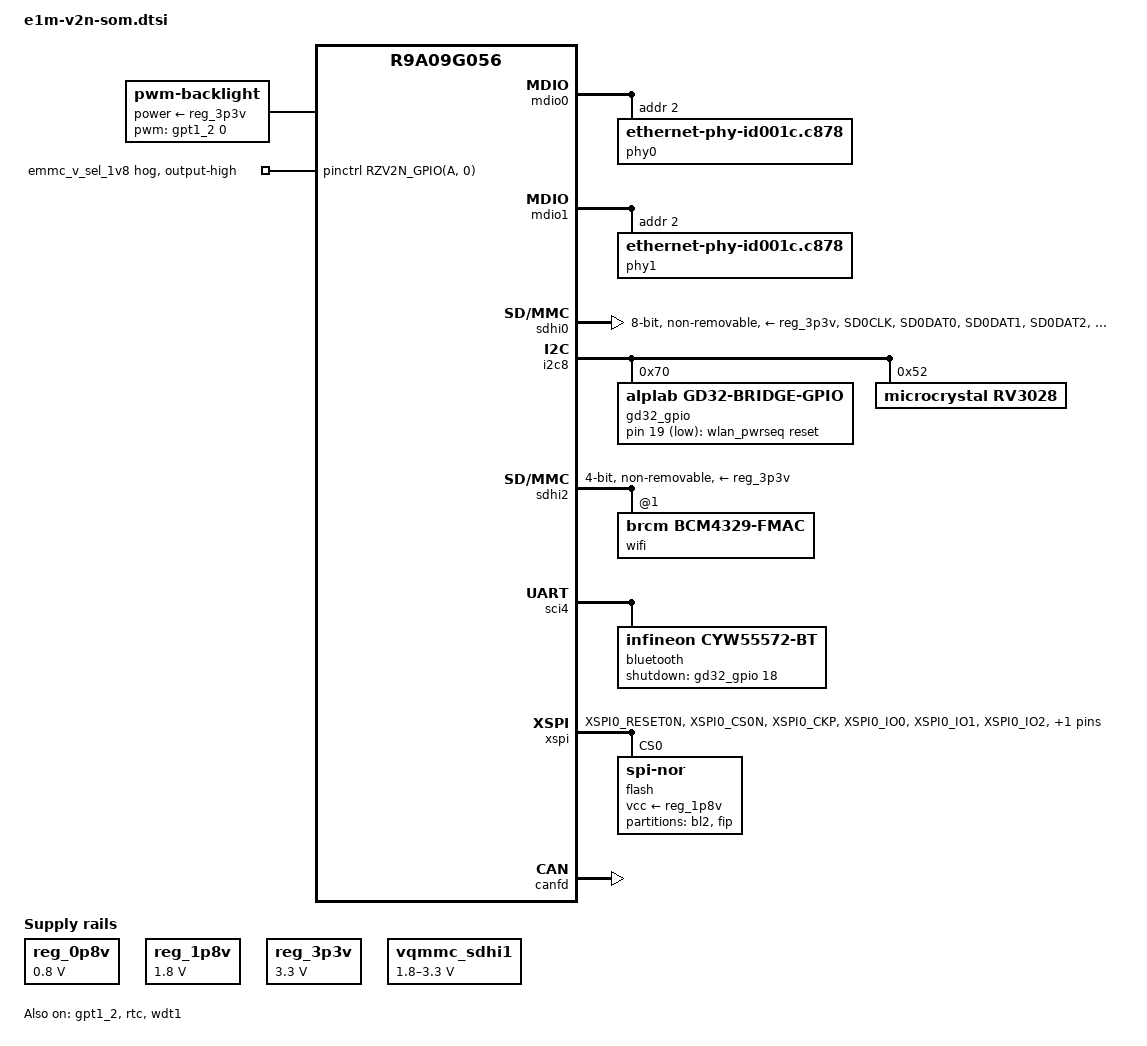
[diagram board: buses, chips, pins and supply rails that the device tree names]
// SPDX-License-Identifier: (GPL-2.0-only OR BSD-2-Clause)
/*
 * ALP E1M-V2N SoM (on-module) — Renesas RZ/V2N (r9a09g056n48).
 *
 * Public, per SoM-vendor norm (Toradex/Phytec/Variscite publish their SoM
 * dtsi; the dtb ships on every module and is GPL). Schematic design IP
 * (resistor IDs, divider math, datasheet notes) stays in alp-sdk-internal
 * metadata, NOT here.
 *
 * On-module hardware described here: DRP-AI/codec reserved memory, the
 * core fixed rails, the dual Realtek RTL8211F-VD GbE PHYs, on-module eMMC
 * (SDHI0), and the on-module xSPI NOR. Carrier-facing enables live in the
 * carrier dtsi (e1m-x-evk.dtsi); each product board dts composes
 * SoC dtsi + this SoM dtsi + a carrier dtsi.
 *
 * Ported from the Renesas RZ/V2N EVK reference dts (kernel SHA 6717c06,
 * AI SDK platform 7.1 / BSP v6.30).
 *
 * STATUS: UNVALIDATED through dtc/bitbake — first structured port.
 */

#include <dt-bindings/gpio/gpio.h>
#include "r9a09g056.dtsi"

/ {
	reserved-memory {
		#address-cells = <2>;
		#size-cells = <2>;
		ranges;

		/* A55 view of the CM33 OpenAMP window: the CM33 board trees'
		 * openamp_shm (memory@9f700000, 0x900000, CM33-NS view; A55 =
		 * CM33-NS - 0x50000000, see src/backends/rpc/yocto_uio_drv.c).
		 * no-map so Linux never hands this RAM out: a CM33 image with
		 * IPC enabled writes the resource table + vrings here whether or
		 * not the A55 peer is up (#2374).  The generic-uio nodes the A55
		 * RPC backend opens are declared at the end of this file. */
		openamp_reserved: openamp@4f700000 {
			no-map;
			reg = <0x0 0x4f700000 0x0 0x900000>;
		};

		global_cma: linux,cma@58000000 {
			compatible = "shared-dma-pool";
			linux,cma-default;
			reusable;
			reg = <0x0 0x58000000 0x0 0x28000000>;
		};

		mmp_reserved: linux,multimedia {
			compatible = "shared-dma-pool";
			reusable;
			reg = <0x0 0x80000000 0x0 0x10000000>;
		};

		isp: isp@90000000 {
			compatible = "shared-dma-pool";
			reusable;
			reg = <0x0 0x90000000 0x0 0x18000000>;
		};

		opencva_reserved: opencva@a8000000 {
			reusable;
			reg = <0x0 0xa8000000 0x0 0x7cff000>;
		};

		shared_drp_reserved: shareddrp@afcff000 {
			reusable;
			reg = <0x0 0xafcff000 0x0 0x00001000>;
		};

		drp_codec: drp-codec@afd00000 {
			reusable;
			reg = <0x0 0xafd00000 0x0 0x300000>;
		};

		image_buf0: image_buf@b0000000 {
			compatible = "shared-dma-pool";
			reusable;
			reg = <0x0 0xb0000000 0x0 0x4000000>;
			label = "image_buf0";
		};

		cru_func: cru_buffer@b4000000 {
			compatible = "shared-dma-pool";
			reusable;
			reg = <0x0 0xb4000000 0x0 0x16400000>;
		};

		/* DRP-AI3 working memory (on-die NPU). */
		drp_reserved: drp-ai@d0000000 {
			reusable;
			reg = <0x0 0xd0000000 0x0 0x20000000>;
		};
	};

	/*
	 * A55 half of the CM33 OpenAMP link (#2374): generic-uio nodes the
	 * userspace OpenAMP master (src/backends/rpc/yocto_uio_drv.c) opens
	 * through libmetal.  The node NAME is load-bearing: sysfs exposes the
	 * platform device as "<unit-address>.<node-name>" (e.g.
	 * 4f700000.rsctbl) and the backend looks each region up by exactly
	 * that string.  Layout = the CM33 board trees' openamp_shm window
	 * (A55 = CM33-NS - 0x50000000) inside openamp_reserved above.
	 * uio_pdrv_genirq binds "generic-uio" (uio.cfg + the 0012 patch).
	 */
	rsctbl@4f700000 {
		compatible = "generic-uio";
		reg = <0x0 0x4f700000 0x0 0x1000>;
	};

	mhu-shm@4f701000 {
		compatible = "generic-uio";
		reg = <0x0 0x4f701000 0x0 0x1000>;
	};

	vring-ctl0@4f800000 {
		compatible = "generic-uio";
		reg = <0x0 0x4f800000 0x0 0x50000>;
	};

	vring-ctl1@4f850000 {
		compatible = "generic-uio";
		reg = <0x0 0x4f850000 0x0 0x50000>;
	};

	vring-shm0@4f900000 {
		compatible = "generic-uio";
		reg = <0x0 0x4f900000 0x0 0x300000>;
	};

	vring-shm1@4fc00000 {
		compatible = "generic-uio";
		reg = <0x0 0x4fc00000 0x0 0x300000>;
	};

	/*
	 * MHU-B register block (A55 0x10480000, CM33-view 0x50480000).  The
	 * M33->A55 doorbell is MHU-B SWINT unit 12, the only CA55-routed
	 * reverse line: INTID 436 = GIC_SPI 404 (GIC-measured on silicon,
	 * alp-sdk #697 cycle 10; see yocto_uio_drv.c ALP_MHU_SWINT_RECV_*).
	 * Level-high: the backend acks by writing SWINT unit 12 CLR.
	 * uio_pdrv_genirq disables the line at IRQ time and libmetal
	 * re-enables it after the backend's ack.
	 */
	mhu-uio@10480000 {
		compatible = "generic-uio";
		reg = <0x0 0x10480000 0x0 0x1000>;
		interrupt-parent = <&gic>;
		interrupts = <GIC_SPI 404 IRQ_TYPE_LEVEL_HIGH>;
	};

	mmngr {
		compatible = "renesas,mmngr";
		memory-region = <&mmp_reserved>;
	};

	mmngrbuf {
		compatible = "renesas,mmngrbuf";
	};

	vspm_if {
		compatible = "renesas,vspm_if";
	};

	reg_0p8v: regulator-0p8v {
		compatible = "regulator-fixed";
		regulator-name = "fixed-0.8V";
		regulator-min-microvolt = <800000>;
		regulator-max-microvolt = <800000>;
		regulator-boot-on;
		regulator-always-on;
	};

	reg_1p8v: regulator-1p8v {
		compatible = "regulator-fixed";
		regulator-name = "fixed-1.8V";
		regulator-min-microvolt = <1800000>;
		regulator-max-microvolt = <1800000>;
		regulator-boot-on;
		regulator-always-on;
	};

	reg_3p3v: regulator-3p3v {
		compatible = "regulator-fixed";
		regulator-name = "fixed-3.3V";
		regulator-min-microvolt = <3300000>;
		regulator-max-microvolt = <3300000>;
		regulator-boot-on;
		regulator-always-on;
	};

	/* SD1 (carrier microSD, SDHI1) IO-voltage selector. It sits on the
	 * SoM and feeds the SoC's SD1 VDDQ pad rail; &sdhi1 (e1m-x-evk.dtsi)
	 * uses it as vqmmc-supply. Driven by PA2 (µSD1_V_SEL): low = 3.3 V,
	 * high = 1.8 V; SEL has an internal pull-down, so it defaults to
	 * 3.3 V. Bench-verified at 1.8 V up to SDR104 (see &sdhi1). */
	vqmmc_sdhi1: regulator-vqmmc-sdhi1 {
		compatible = "regulator-gpio";
		regulator-name = "SDHI1 VqmmC";
		gpios = <&pinctrl RZV2N_GPIO(A, 2) GPIO_ACTIVE_HIGH>;
		regulator-min-microvolt = <1800000>;
		regulator-max-microvolt = <3300000>;
		gpios-states = <0>;
		states = <3300000 0>, <1800000 1>;
	};

	backlight: backlight {
		compatible = "pwm-backlight";
		pwms = <&gpt1_2 0 200000>;
		power-supply = <&reg_3p3v>;
		brightness-levels = <0 4 8 16 32 64 128 255>;
		default-brightness-level = <6>;
	};
};

/* Display backlight: the LED boost driver lives ON the SoM (BL_LED_A/K
 * to the module edge); Renesas PA5 = BL_PWM drives its CNTRL input.
 * PA5 func 9 = GTIOC10B. GPT naming trap, the full story:
 *   - GPT INSTANCES are unit-channel composite: GPT00-07 (unit 0,
 *     0x13010000) and GPT10-17 (unit 1, 0x13020000 + ch * 0x100).
 *     "GPT12" = unit 1 channel 2. There is no GPT08/09 instance.
 *   - PIN FUNCTIONS GTIOCnA/B are numbered FLAT n = 0..15 across both
 *     units (HW manual Table 1.2-3 has GTIOC8/9, never GTIOC16/17;
 *     Table 5.7-12 lists unit-1's own pins as GTIOC8A..GTIOC15B).
 *   - Therefore GTIOC10B = unit 1 channel 2 = gpt@13020200 = &gpt1_2,
 *     B-side output (hence channel_B). 5 kHz PWM.
 * The FSP iodefine name "R_GPT10" (= 0x.3020000) is the composite
 * INSTANCE name, not the pin-function index -- do not "fix" this back
 * to &gpt1_0. Silicon-verified 2026-06-06: GPT12 PWM observed at the
 * PA5 die pad via PIN-register sampling (IEN on, ~50% duty); unit-1
 * ch-0 (&gpt1_0) runs identical register images into the unmuxed
 * GTIOC8B function and leaves PA5 dead.
 */
&gpt1_2 {
	pinctrl-0 = <&backlight_pwm_pins>;
	pinctrl-names = "default";
	channel = "channel_B";
	status = "okay";
};

/*
 * CA55 cluster maximum operating point: 1.7 GHz (default) or 1.8 GHz (opt-in).
 *
 * The SoC dtsi (r9a09g056.dtsi) ships a cluster0_opp table that tops out at
 * 1.7 GHz -- the conservative Renesas default -- with an in-tree note that the
 * PLLCA55 "can be clocked to 1.8GHz as well" and that "the table below should
 * be overridden in the board DTS". The RZ/V2N datasheet (r01ds0466) rates the
 * CA55 at 1.8 GHz @ 0.9 V (1.1 GHz @ 0.8 V).
 *
 * 1.7 GHz and 1.8 GHz sit on the SAME 0.9 V rail (the voltage step is lower in
 * the table, at <= 0.85 GHz / 0.8 V), so raising the cap is a ~6 % clock bump
 * at unchanged voltage -- not a higher-voltage corner. The CPG clk driver
 * reprograms PLLCA55 dynamically (the boot-strapped BOOTPLLCA frequency is the
 * initial value, not a ceiling). 1.8 GHz IS the datasheet ceiling, though, so
 * per-unit Fmax margin is thinner there; we ship 1.7 GHz by default and leave
 * 1.8 GHz as a one-line opt-in.
 *
 * TO RAISE THE CAP TO 1.8 GHz: flip ALP_CA55_1P8GHZ to 1 below (or build the
 * kernel dtb with -DALP_CA55_1P8GHZ=1 -- no DT edit needed). Bench-validated
 * on E1M-V2M101 silicon (2026-06-12): a 5 min 4-core soak held 1.8 GHz on all
 * cores with zero sha256 miscompute, no thermal throttle (56 C peak vs the
 * 95 C passive trip), and a clean boot. Validate your own silicon + thermals
 * before enabling 1.8 GHz fleet-wide.
 */
#ifndef ALP_CA55_1P8GHZ
#define ALP_CA55_1P8GHZ 0	/* 0 = 1.7 GHz (default), 1 = 1.8 GHz */
#endif

#if ALP_CA55_1P8GHZ
&cluster0_opp {
	opp-1800000000 {
		opp-hz = /bits/ 64 <1800000000>;
		opp-microvolt = <900000>;
		clock-latency-ns = <300000>;
	};
};
#endif

/*
 * Dual on-module GbE PHYs. Each PHY is addressed at MDIO address 2 on its
 * bus (the on-module wiring makes address 2 the reliable address; address
 * 0 does not respond to phy_poll_reset). The compatible string carries the
 * PHY's IEEE OUI/model so the matching mainline driver binds.
 */
&mdio0 {
	phy0: ethernet-phy@2 {
		compatible = "ethernet-phy-id001c.c878",
			     "ethernet-phy-ieee802.3-c22";
		reg = <2>;
	};
};

&mdio1 {
	phy1: ethernet-phy@2 {
		compatible = "ethernet-phy-id001c.c878",
			     "ethernet-phy-ieee802.3-c22";
		reg = <2>;
	};
};

/*
 * On-die DRP-AI3 NPU enable (claims drp_reserved + shared_drp_reserved
 * above, and flips the node to "okay").
 *
 * Kept in its own file because it can only be compiled when the OPTIONAL
 * meta-rz-drpai layer is in bblayers.conf: that layer's
 * 0001-add-drpai-property-to-devicetree.patch is what CREATES the `drpai0`
 * label in r9a09g056.dtsi -- the pristine linux-renesas tree has no such
 * node, so an unconditional `&drpai0` here aborts dtc for every board that
 * includes this SoM dtsi (V2N and V2M alike).  The linux-renesas bbappend
 * installs the real override when the layer is present and a comment-only
 * stub when it is not; the rationale, the mandatory-second-property rule and
 * the mmp_reserved warning all live in that file.
 */
#include "e1m-v2n-drpai.dtsi"

/* On-module eMMC on SDHI0 (8-bit, HS200, non-removable). */
&sdhi0 {
	pinctrl-0 = <&sdhi0_emmc_pins>;
	pinctrl-1 = <&sdhi0_emmc_pins>;
	pinctrl-names = "default", "state_uhs";
	vmmc-supply = <&reg_3p3v>;
	vqmmc-supply = <&reg_1p8v>;
	bus-width = <8>;
	mmc-hs200-1_8v;
	non-removable;
	fixed-emmc-driver-type = <1>;
	status = "okay";
};

/* GD32G553 supervisor MCU bridge -- I2C slave transport on BRD_I2C.
 * Exposes the GD32-routed E1M IO pads plus sideband control lines
 * (logical bridge map, 21 lines) as a Linux gpiochip: line 5 =
 * IO13/LCD1_RST, line 3 = IO11/CTP1_RST, line 1 = IO9/CTP1_INT (input
 * only -- the GT911 drives it), line 18 = bt-reg-on (the `bluetooth`
 * node's shutdown-gpios below), line 19 = wl-reg-on (the
 * mmc-pwrseq-simple node's reset-gpios below), line 20 = can-stby
 * (sideband, not an E1M pad -- see the gpio-hog below; requires
 * bridge protocol MINOR >= 13, gated at the wire, not in .request();
 * see can-stby-hog below).
 * Same physical chip as the CM33's SCI7 SPI link peer; Linux only
 * issues short GPIO frames here.
 *
 * On-module real-time clock: Micro Crystal RV-3028-C7 at 0x52, also on
 * BRD_I2C -- the RTC of record for the whole SoM family (rtc0 alias
 * below). The SoC's own RTXIN has no discrete 32.768 kHz crystal; it is
 * instead fed by SE1 of the on-module 5L35023B clock generator, which
 * U-Boot corrects from its as-shipped 24.576 MHz to 32.768 kHz on every
 * boot before Linux starts (board_late_init() -> alp_clk5l_fixup(),
 * meta-alp-sdk u-boot 0007 patch) -- bench-confirmed 2026-09-24
 * (E1M-V2M103 board #1): with the fix applied, the SoC RTC (&rtc below)
 * starts and counts at 32.768 kHz. See &rtc's own comment below -- do
 * NOT re-disable it without also reverting that U-Boot fix.
 * No trickle-resistor-ohms is set: whether the RV-3028-C7's VBACKUP net
 * carries a backup cap/coin cell on this SoM is not confirmed on the
 * schematic -- add the property once that's known, don't guess it.
 *
 * CA55/Linux is the sole master of the WHOLE RIIC8/BRD_I2C bus -- every
 * device on it, not just this one (metadata/e1m_modules/v2n/
 * core-ownership.yaml). The CM33 must never issue I2C transactions here.
 *
 * FOLLOW-UP: rv3028c7.yaml's INT/v2n_route (RTC_ALARM) isn't wired to an
 * `interrupts` property below -- the SoC-side pin/mux isn't confirmed
 * yet. /dev/rtc0 alarm ioctls still work via poll/select without it; a
 * wake-capable alarm needs that pin nailed down first.
 */
&i2c8 {
	gd32_gpio: gpio@70 {
		compatible = "alplab,gd32-bridge-gpio";
		reg = <0x70>;
		gpio-controller;
		#gpio-cells = <2>;
		/* Names come from here, not gpio_chip.names: the driver's
		 * names[] made a re-bind oops in gpiolib's duplicate-name walk
		 * (alplabai/alp-sdk#2508). */
		gpio-line-names =
			"IO8",  "IO9",  "IO10", "IO11", "IO12", "IO13",
			"IO14", "IO16", "IO24", "IO25", "IO27", "IO28",
			"IO29", "IO30", "IO31", "IO32", "IO34", "IO35",
			"bt-reg-on", "wl-reg-on", "can-stby", "se-rst";

		/* CAN_STBY (bridge line 20, GD32 PB13,
		 * metadata/e1m_modules/v2n/gd32-io-mcu-map.csv:38): the
		 * shared standby line for the two on-module TCAN1044 CAN-FD
		 * transceivers (U15/U16). STB HIGH = standby, STB LOW =
		 * normal -- the bridge firmware boots the pad HIGH (bus held
		 * in standby) as its own safe default; this hog is Linux
		 * actively taking the bus out of standby at boot.
		 *
		 * Requires bridge protocol MINOR >= 13 (firmware >= 0.2.16).
		 * Unlike lines 18/19, this line is NOT gated in .request():
		 * the only consumer is this hog on the same gpiochip, and
		 * deferring a hog's request would fail the whole gpiochip
		 * registration (bt-reg-on, wl-reg-on, RTC, Display-1). The
		 * 0005 kernel patch instead grants the request immediately
		 * and gates at the wire level (gd32_bridge_gate_blocked()):
		 * on a bridge below MINOR 13 the line-20 write is never sent,
		 * so CAN_STBY stays HIGH and BOTH transceivers sit in
		 * standby indefinitely, with only a one-shot dev_warn.
		 * There is no deferred probe. When the bridge is merely slow
		 * to boot, the driver latches the level and replays it once
		 * the bridge answers. */
		can-stby-hog {
			gpio-hog;
			gpios = <20 GPIO_ACTIVE_HIGH>;
			output-low;
			line-name = "can-stby";
		};
	};

	rv3028: rtc@52 {
		compatible = "microcrystal,rv3028";
		reg = <0x52>;
	};
};

/ {
	aliases {
		/* BRD_I2C is a SoM-internal bus (RIIC8), not one of the E1M-X-EVK
		 * carrier's own routed pins -- its Linux adapter alias lives here,
		 * not in e1m-x-evk.dtsi's carrier-bus aliases block. */
		i2c8 = &i2c8;
		rtc0 = &rv3028;
		/* &rtc (SoC RTCA-3) below is enabled and probes before rtc0
		 * above -- Linux's rtc class allocates ids in probe order
		 * (drivers/rtc/class.c ida_alloc), and drivers/Makefile links
		 * rtc/ before i2c/, so without a fixed id here &rtc would grab
		 * /dev/rtc0 and rv3028 would land on /dev/rtc1, breaking
		 * RTC_HCTOSYS and every alias above that assumes rv3028 = rtc0.
		 * Pin &rtc to rtc1 explicitly so rv3028 keeps rtc0. */
		rtc1 = &rtc;
		/* RSCI4 carries the on-module Bluetooth UART (&sci4 below). The
		 * rz-rsci driver takes its tty index from this alias; without it
		 * the port registers as ttySC0 -- colliding with the SCIF debug
		 * console (serial0, e1m-x-evk.dtsi) -- and matches
		 * console=ttySC0, so the kernel console and the serial getty
		 * move onto the BT UART (bench, E1M-V2M103, 2026-09-26). */
		serial4 = &sci4;
	};

	/* On-module Wi-Fi power sequencing for the Murata LBEE5HY2FY-922
	 * (Infineon CYW55513): WL_REG_ON is GD32 bridge line 19 (PE15,
	 * boots OUTPUT LOW at bridge firmware >= 0.2.12 / protocol minor
	 * 11 -- see gpio-gd32-bridge.c). mmc-pwrseq-simple's reset-gpios
	 * is asserted (driven to its ACTIVE level) in .pre_power_on and
	 * deasserted in .post_power_on, so ACTIVE_LOW here reproduces the
	 * required sequence: REG_ON low through card power-up, then high.
	 * mmc_power_up() holds REG_ON low for host->ios.power_delay_ms
	 * between .pre_power_on and .post_power_on -- that MMC-core delay
	 * is the >=10 ms REG_ON-low hold the bring-up notes call for, not
	 * anything set here. post-power-on-delay-ms instead runs AFTER
	 * .post_power_on drives REG_ON high (pwrseq_simple.c:
	 * mmc_pwrseq_simple_post_power_on() deasserts, then sleeps this
	 * many ms) -- a settle time for the module post-power-up, before
	 * the first CMD5. Bench-tuned on E1M-V2M103 (2026-09-26): at 10 ms
	 * a WL_REG_ON power cycle (SDHI2 unbind/bind) re-enumerated only
	 * 11/15 times -- the failing rounds never answer CMD5 -- while cold
	 * boot always worked; at 200 ms it re-enumerated 15/15 (brcmfmac
	 * firmware reloaded each time). */
	wlan_pwrseq: wlan-pwrseq {
		compatible = "mmc-pwrseq-simple";
		reset-gpios = <&gd32_gpio 19 GPIO_ACTIVE_LOW>;
		post-power-on-delay-ms = <200>;
	};
};

/* SoC RTC (RTCA-3, RTXIN/RTXOUT). RTXIN has no discrete 32.768 kHz
 * crystal -- it is fed by SE1 of the on-module 5L35023B clock
 * generator, whose as-shipped OTP image outputs 24.576 MHz on SE1
 * instead of 32.768 kHz. U-Boot corrects this on every boot, before
 * Linux starts (board_late_init() -> alp_clk5l_fixup(),
 * meta-alp-sdk u-boot 0007 patch): a volatile register write that
 * takes effect immediately but REVERTS ON POWER-CYCLE (the OTP itself
 * cannot be re-burned in-system), so it must run every boot -- this DT
 * enablement depends on that fix having already run. rtc_clk below is
 * fixed at the corrected 32.768 kHz.
 *
 * Bench-confirmed 2026-09-24 (E1M-V2M103 board #1): before the fix,
 * probing &rtc timed out ("Failed to setup the RTC!", -ETIMEDOUT);
 * after it, the SoC RTC starts and counts at 32.768 kHz (~+/-100 ppm
 * vs an NTP-slewed reference). The on-module RV-3028-C7 above remains
 * the RTC of record (rtc0 alias) -- this is a second, SoC-internal
 * timebase, not a replacement; production should use a Renesas factory
 * dash code on the clock generator that carries the corrected OTP
 * image instead of relying on this runtime fixup. */
&rtc_clk {
	clock-frequency = <32768>;
};

&rtc {
	status = "okay";
};

/* On-module Wi-Fi: Murata LBEE5HY2FY-922 (Infineon CYW55513) on SDHI2,
 * 4-bit SDIO, non-removable (it is a soldered-down module, not a card
 * slot). Ground truth (bench-derived 2026-06): PB0=CLK, PB1-PB4=DAT0-3,
 * PB5=CMD (RZ/V2N datasheet Table 2.2-2, Func1 -- the ONLY SD2 routing).
 *
 * IOVS (SD_STATUS pad-voltage-mode bit) MUST be set for a 1.8 V-only
 * part like this one: the SoC SDHI2 pads reset into 3.3 V receiver
 * mode, which cannot read the module's 1.8 V SDIO responses at all
 * (CMDTIMEOUT on every CMD5). IOVS is set ONLY when the SDHI's own
 * internal vqmmc-regulator child (sdhi2_vqmmc, from the SoC dtsi) is
 * enabled -- but enabling it NAIVELY re-triggers a real bench-observed
 * boot oops: regulator_late_cleanup -> renesas_sdhi_regulator_
 * is_enabled -> a raw SD_STATUS register read while the controller is
 * runtime-suspended takes a synchronous external abort, which killed
 * the console-input IRQ and put the eMMC rootfs at risk on the exact
 * board this was found on. `regulator-always-on` is the proven-safe
 * fix: it makes regulator_late_cleanup's own early-return trigger
 * (`if (c->always_on) return 0;`) fire BEFORE the crashing read. Do
 * NOT drop regulator-always-on from sdhi2_vqmmc below. A second,
 * independent guard against the same class of read-while-suspended
 * crash (a manual sysfs/debugfs regulator read, which always_on does
 * NOT cover) lives in
 * meta-alp-sdk/recipes-kernel/linux/linux-renesas/
 * 0007-mmc-renesas_sdhi-pm_runtime-guard-the-vqmmc-regulato.patch.
 *
 * mmc-pwrseq drives WL_REG_ON (GD32 bridge line 19) through the
 * required low-then-high sequence (wlan_pwrseq, above). The `wifi@1`
 * child node is the standard brcmfmac SDIO binding; brcmfmac itself
 * matches on the SDIO vendor/device ID the module reports, this node
 * only gives it a DT anchor for future properties (e.g. a host-wake
 * IRQ, not yet routed on this SoM).
 *
 * STATUS: UNVALIDATED on real silicon through this exact node shape --
 * the WLAN blocker chased through 2026-06 bench sessions turned out to
 * be the module's 32.768 kHz LPO (from the on-module 5L35023B clock
 * generator), not anything IOVS/pinctrl/strap-side; see #2293 for that
 * fix (owned there, NOT touched here). This node assumes that fix
 * lands.
 *
 * sd-uhs-sdr50: sdhi2_vqmmc below is a FIXED 1.8 V regulator (min ==
 * max == 1800000), so no voltage switching is involved in reaching UHS
 * here -- the pads are 1.8 V-only from power-up, unlike a card slot
 * that starts at 3.3 V and CMD11-switches. Without this property
 * mmc_sdio_init_uhs_card() (drivers/mmc/core/sdio.c) never tries
 * anything past the legacy "sd high-speed" mode; bench-verified
 * (E1M-V2M103, 2026-09-26): without it mmc2 negotiated "sd
 * high-speed" at 50 MHz, 4-bit. With it, "sd uhs SDR50" at 100 MHz,
 * 4-bit, no errors. sd-uhs-sdr104 is deliberately NOT set: this node
 * is non-removable (soldered-down, not a card slot to fall back to on
 * a bad tuning) and only SDR50 has been bench-verified -- untested
 * 208 MHz tuning risks taking SDIO down on some unit.
 */
&sdhi2 {
	#address-cells = <1>;
	#size-cells = <0>;
	pinctrl-0 = <&sd2_wlan_pins>;
	pinctrl-1 = <&sd2_wlan_pins>;
	pinctrl-names = "default", "state_uhs";
	/* The module's VBAT is the SoM's always-on 3.3 V rail. vmmc-supply
	 * is required even so: without it tmio_mmc_init_ocr() finds no OCR
	 * mask (no regulator, and the RZ SDHI of_data carries no ocr_mask)
	 * and returns -EPROBE_DEFER forever -- the host never probes and
	 * dmesg only repeats "allocated mmc-pwrseq" (bench, E1M-V2M103,
	 * 2026-09-26). */
	vmmc-supply = <&reg_3p3v>;
	vqmmc-supply = <&sdhi2_vqmmc>;
	mmc-pwrseq = <&wlan_pwrseq>;
	bus-width = <4>;
	non-removable;
	cap-power-off-card;
	keep-power-in-suspend;
	sd-uhs-sdr50;
	status = "okay";

	sdhi2_vqmmc: vqmmc-regulator {
		regulator-min-microvolt = <1800000>;
		regulator-max-microvolt = <1800000>;
		regulator-always-on;
		status = "okay";
	};

	/* brcm,ccode-map-trivial: without it brcmfmac has no cfg80211
	 * country->firmware country-code map for this module and silently
	 * drops the reg_notifier() country (e.g. "DE" from the
	 * wireless-regdb-static-backed `iw reg set`) -- the firmware never
	 * sees it. The trivial map (ISO code -> the same two ASCII bytes,
	 * revision 0) is enough for this module; bench-verified working on
	 * kernel 6.1.141-cip43 (E1M-V2M103, 2026-09-26). */
	wifi@1 {
		compatible = "brcm,bcm4329-fmac";
		reg = <1>;
		brcm,ccode-map-trivial;
	};
};

/* On-module Bluetooth: the same CYW55513's BT core, on RSCI4 (UART),
 * P40-P43 -- BT_REG_ON is GD32 bridge line 18 (PE14), driven by hci_bcm
 * through shutdown-gpios before the .hcd patch load. uart-has-rtscts
 * matches the 4-wire P40-43 wiring (TXD/RXD/CTS/RTS); the module will not
 * transmit unless the host's RTS is asserted.
 *
 * compatible = "infineon,cyw55572-bt" with brcm,requires-autobaud-mode is
 * the CYW555xx path in hci_bcm/btbcm, and the only one that brings this
 * module up. Bench, E1M-V2M103, 2026-09-26, each step reproduced on the
 * raw ttySC4 as well as through serdev:
 *  - With max-speed set, bcm_open() copies it into hu->oper_speed and
 *    hci_serdev sends the vendor Update-Baud-Rate command (0xfc18) as the
 *    first byte on the link. The pre-patch ROM wedges on that: 0xfc18
 *    and every later command, HCI_Reset included, time out. It also
 *    ignores 0xfc18 after a Reset, so there is no max-speed and no ramp:
 *    the link stays at the 115200 init speed.
 *  - The ROM also does not answer the vendor Read Controller Features
 *    (0xfc6e), which btbcm_initialize() treats as fatal on the non-
 *    autobaud path. Autobaud mode skips that and Read Local Name.
 * Result: chip id 157, 'brcm/BCM.hcd' patch loaded, hci0 UP+RUNNING
 * (the patch is the Murata 2FY .hcd, installed as BCM.hcd).
 *
 * PFC funcs per the e2 studio PinMux tool (authoritative over the
 * EVK reference dts, which does not populate RSCI4 at all): P40=f2
 * (TXD4), P41=f2 (RXD4), P42=f4 (CTS4), P43=f2 (RTS4) -- note CTS4 is
 * NOT the same function number as the other three; do not "correct"
 * it to f2, that was checked against pin_data.c directly.
 *
 * Naming frame: renesas-peripheral-map.tsv / pinmux/v2n.yaml name the
 * same pads BT_UART.RXD=P40, BT_UART.TXD=P41 -- that is the *module's*
 * (Murata BT core's) own RXD/TXD, i.e. what it receives on / transmits
 * from. The SoC-side name above (P40=TXD4, P41=RXD4) is the RZ/V2N's
 * own transmit/receive role on that same pad -- a host TXD wires to a
 * peripheral's RXD. Same pads, correct crossover, just two different
 * "whose TXD is this" frames; not a discrepancy.
 */
&sci4 {
	pinctrl-0 = <&sci4_bt_pins>;
	pinctrl-names = "default";
	uart-has-rtscts;
	status = "okay";

	bluetooth {
		compatible = "infineon,cyw55572-bt";
		shutdown-gpios = <&gd32_gpio 18 GPIO_ACTIVE_HIGH>;
		brcm,requires-autobaud-mode;
	};
};

/* On-module xSPI NOR. */
&xspi {
	pinctrl-0 = <&xspi_pins>;
	pinctrl-names = "default";
	assigned-clocks = <&cpg CPG_CORE R9A09G056_SPI_CLK_SPI>;
	assigned-clock-rates = <133333334>;
	status = "okay";

	flash@0 {
		compatible = "jedec,spi-nor";
		reg = <0>;
		vcc-supply = <&reg_1p8v>;
		m25p,fast-read;
		spi-tx-bus-width = <4>;
		spi-rx-bus-width = <4>;

		/* Layout for the populated 32 MiB MX25U25635F: bl2 (mtd0) +
		 * fip (mtd1, spans the remainder; also carries the CM33
		 * image).  The EVK reference layout this was ported from
		 * assumed a 64 MiB part and declared a third "user"
		 * partition at 0x2000000 -- past the end of this flash, so
		 * the kernel disabled it on every boot ("partition is out
		 * of reach").  Re-cutting fip to free real user space is a
		 * deliberate layout decision (it moves mtd1's bounds for
		 * provisioning and CM33 flashing) -- not done casually here. */
		partitions {
			compatible = "fixed-partitions";
			#address-cells = <1>;
			#size-cells = <1>;

			partition@0 {
				label = "bl2";
				reg = <0x00000000 0x00060000>;
			};

			partition@60000 {
				label = "fip";
				reg = <0x00060000 0x1fa0000>;
			};
		};
	};
};

/* CA55-cluster watchdog (wdt1 -- wdt0 belongs to the CM33, wdt2/3 to
 * the CR8s).  SoC-internal, so enabled at SoM level rather than per
 * carrier.  systemd arms and pets it from early userspace
 * (RuntimeWatchdogSec -- see the alp-watchdog-policy recipe);
 * timeout-sec pins the policy explicitly instead of inheriting the
 * driver default (the HW period itself is fixed ~175 ms; longer
 * timeouts are kernel-emulated).
 * NOTE: the WDT1-underflow -> reset routing (CPG_ERRORRST_SEL2) is
 * programmed by TF-A BL2 on r9a09g056 (this kernel's DT has no
 * renesas,syscon-cpg-error-rst) -- supervision only resets the board
 * when running the ALP/BSP FIP.
 * VALIDATION: pending bench hang-injection on a built image + the
 * deployed FIP -- start the watchdog, stop feeding it, and confirm
 * the board actually resets within timeout-sec; a keepalive-only
 * check (feed succeeds, no starvation attempted) does not prove this
 * (alp-sdk#1153).
 *
 * wdt0 (CM33): NOT enabled anywhere in this tree (alp-sdk#1153).
 * Checked against the exact pinned Zephyr v4.4.0 tag's own upstream
 * SoC devicetree (dts/arm/renesas/rz/rzv/r9a09g056.dtsi, zephyr west
 * module -- not vendored in this repo): it declares no watchdog node
 * and no watchdog driver binds this SoC at all yet, so there is no
 * label to reference from the CM33 board dts and no register base
 * address in this tree to hand-author one from (contrast the MHU-B
 * mbox1 node hand-authored at CM33 board level in
 * alp_e1m_v2n101_m33_sm_r9a09g056n48gbg_cm33.dts -- that one had a
 * real vendored FSP register map, bsp_mhu_b.h, to draw from; no
 * equivalent WDT FSP module is vendored under zephyr/drivers/ here).
 * <alp/wdt.h> on the M33 therefore finds no matching backend
 * (src/wdt_dispatch.c returns ALP_ERR_NOT_PRESENT_ON_THIS_SOC) --
 * NOT the ALP_ERR_NOSUPPORT stub_wdt.c path, which is Yocto/baremetal-
 * only and never compiled into a Zephyr build (zephyr/CMakeLists.txt
 * has no reference to it). */
&wdt1 {
	timeout-sec = <60>;
	status = "okay";
};

/* MCPU DMAC (DMAC0 @ 0x11400000) is OWNED BY THE CM33 firmware (the
 * GD32 supervisor link's SCI7 DMA path drives it through the rzv FSP
 * r_dmac_b).  The upstream SoC dtsi enables it for Linux, whose
 * rz-dmac driver then binds the unit, claims all 8 channel interrupts
 * and resets/owns the channels under the CM33's feet -- the same AMP
 * double-ownership class as the port-9 SD1_CD lesson.  Silicon
 * 2026-06-06: rz-dmac bound + 8 GIC IRQs claimed on the live system
 * while the CM33 FSP was arming the same channels.  The A55 has four
 * other DMAC units; this one is off-limits.
 * (dmac0_aclk is NOT gated by this: bench-verified on the pristine
 * BSP kernel with the node disabled, the cpg driver keeps the clock
 * held -- enable_cnt=1, deviceless -- so the CM33's engine keeps its
 * clock.)
 *
 * OWNERSHIP CONTRACT (alp-sdk#1152, docs/adr/0025-v2n-dmac0-cm33-
 * exclusive-channel-partition.md): DMAC0 is CM33-exclusive, whole
 * unit -- this status="disabled" line IS the enforcement, not a
 * placeholder for a finer-grained one.  Within that exclusive
 * ownership, the CM33 FSP config
 * (zephyr/drivers/spi/spi_renesas_rz_sci_b.c:257-259) reserves ch0
 * (RX, DMAINT0 -> NVIC 89) + ch1 (TX, DMAINT1 -> NVIC 90) for the
 * SCI7 SPI DMA fast path (currently gated off pending #84,
 * ALP_V2N_SCI7_DMAC=0); ch2-7 are unclaimed margin, still CM33-side.
 * No Linux-side per-channel mask/partition mechanism is evidenced in
 * this tree or the upstream rz-dmac binding -- do NOT attempt a
 * partial re-enable without first finding and silicon-verifying one;
 * Linux DMA needs on this SoM route through one of the other four
 * A55 DMAC units instead. */
&dmac0 {
	status = "disabled";
};

&pinctrl {
	/* eMMC/SD0 IO rail select (PA0, eMMC_V_SEL): the rail is
	 * GPIO-selected between 3.3 V (on-module pull-down default) and
	 * 1.8 V, switching the SoC's VDD1833_SD0 pad rail AND the eMMC
	 * VccQ + bus pull-ups together.  Park it HIGH (1.8 V) before the
	 * card is ever initialised: eMMC has no live VccQ-switch
	 * handshake (unlike SD CMD11), so modelling this as a switchable
	 * vqmmc regulator costs a guaranteed mmc_select_hs200 -110 +
	 * retry on every boot (silicon-verified) -- whereas a hog at
	 * pinctrl probe (~1.9 s) has the rail stable at 1.8 V long
	 * before sdhi probes (~3.0 s), the fixed reg_1p8v vqmmc claim is
	 * then TRUE, and HS200 trains first try.  Without this hog the
	 * rail sat at its 3.3 V default while the driver claimed 1.8 V:
	 * 'mmc_select_hs200 failed, error -74' + silent HS-52 fallback
	 * on every cold boot. */
	emmc-v-sel-hog {
		gpio-hog;
		gpios = <RZV2N_GPIO(A, 0) GPIO_ACTIVE_HIGH>;
		output-high;
		line-name = "emmc_v_sel_1v8";
	};

	sdhi0_emmc_pins: emmc-pins {
		sd0-clk {
			pins = "SD0CLK";
			renesas,output-impedance = <3>;
			slew-rate = <0>;
		};

		sd0-dat-cmd {
			pins = "SD0DAT0", "SD0DAT1", "SD0DAT2", "SD0DAT3", "SD0DAT4",
			       "SD0DAT5", "SD0DAT6", "SD0DAT7", "SD0CMD";
			input-enable;
			renesas,output-impedance = <3>;
			slew-rate = <0>;
		};
	};

	xspi_pins: xspi0 {
		ctrl {
			pins = "XSPI0_RESET0N", "XSPI0_CS0N", "XSPI0_CKP";
			output-enable;
		};

		io {
			pins = "XSPI0_IO0", "XSPI0_IO1", "XSPI0_IO2", "XSPI0_IO3";
			renesas,output-impedance = <3>;
		};
	};

	backlight_pwm_pins: backlight-pwm {
		pinmux = <RZV2N_PORT_PINMUX(A, 5, 9)>; /* PA5 func 9 = GTIOC10B -> on-SoM backlight boost CNTRL */
	};

	/* On-module Wi-Fi SDIO (SDHI2), func1 -- see &sdhi2 above for the
	 * full ground-truth writeup. Split CLK vs CMD/DAT exactly like
	 * sdhi0_emmc_pins above: PB0 (SD2CLK) has NO PIN_CFG_IEN capability
	 * in the pinctrl-rzg2l RZV2H_PB table (a group-wide input-enable
	 * spanning it fails pinctrl_ops.set_mux with -EINVAL, taking the
	 * WHOLE group down, clk included) while PB1-PB5 (SD2DAT0-3, SD2CMD)
	 * all have it and need it enabled for the host to sample the
	 * module's responses at all. */
	sd2_wlan_pins: sd2-wlan {
		sd2-clk {
			pinmux = <RZV2N_PORT_PINMUX(B, 0, 1)>; /* PB0 = SD2CLK */
			renesas,output-impedance = <2>;
			slew-rate = <0>;
		};

		sd2-cmd-dat {
			pinmux = <RZV2N_PORT_PINMUX(B, 1, 1)>, /* PB1 = SD2DAT0 */
				 <RZV2N_PORT_PINMUX(B, 2, 1)>, /* PB2 = SD2DAT1 */
				 <RZV2N_PORT_PINMUX(B, 3, 1)>, /* PB3 = SD2DAT2 (SDIO/gSPI boot strap) */
				 <RZV2N_PORT_PINMUX(B, 4, 1)>, /* PB4 = SD2DAT3 */
				 <RZV2N_PORT_PINMUX(B, 5, 1)>; /* PB5 = SD2CMD */
			input-enable;
			renesas,output-impedance = <2>;
			slew-rate = <0>;
		};
	};

	/* On-module Bluetooth UART (RSCI4), P40-P43. Func numbers per the
	 * e2 studio PinMux tool (pin_data.c) -- NOT uniform (CTS4 is f4,
	 * the other three are f2); see the &sci4 comment above. */
	sci4_bt_pins: sci4-bt {
		pinmux = <RZV2N_PORT_PINMUX(4, 0, 2)>, /* P40 = TXD4 */
			 <RZV2N_PORT_PINMUX(4, 1, 2)>, /* P41 = RXD4 */
			 <RZV2N_PORT_PINMUX(4, 2, 4)>, /* P42 = CTS4 */
			 <RZV2N_PORT_PINMUX(4, 3, 2)>; /* P43 = RTS4 */
	};

	/* CAN-FD: two on-module TCAN1044 transceivers (U15/U16, SoM
	 * rev 2625-R2 schematic sheet "CAN-BUS - Encoder"), each on its own
	 * SoC canfd channel. Mapping is transceiver-to-channel, NOT
	 * connector-to-channel-in-numeric-order:
	 *   - U15 TxD/RxD = CANFD3_CTX3/CANFD3_CRX3 (P86/P87) -> CAN0_H/L
	 *     -> carrier E1M_X_CAN0 (metadata/boards/e1m-x-evk.yaml).
	 *   - U16 TxD/RxD = CANFD2_CTX2/CANFD2_CRX2 (P84/P85) -> CAN1_H/L
	 *     -> carrier E1M_X_CAN1.
	 * i.e. E1M_X_CAN0 is SoC channel3, E1M_X_CAN1 is SoC channel2.
	 *
	 * Linux netdev names: rcar_canfd names netdevs in channel probe
	 * order (channel2 -> can0), which swaps the E1M numbering. The
	 * 0013 kernel patch reports the channel in dev_port and the
	 * alp-canfd-udev rule renames them: channel3 -> can_e1m0
	 * (E1M_X_CAN0), channel2 -> can_e1m1 (E1M_X_CAN1). <alp/can.h>
	 * opens can_e1m<N>.
	 *
	 * Series-0R links R290/R291/R347/R6 are fitted per BOM (not
	 * checkable from this repo), so the PHY path is live. Pin syntax
	 * follows Renesas's own RZ/V2N EVK reference dts (kernel-source
	 * arch/arm64/boot/dts/renesas/r9a09g056n48-rzv2n-evk.dts,
	 * can2_pins/can3_pins). Both transceivers share one STB net,
	 * driven via the gd32_gpio can-stby-hog above -- see that comment
	 * for the standby/normal polarity and the protocol-version gate.
	 * TCAN1044 EN is not driven from Linux; UNCONFIRMED whether it is
	 * strapped high on the SoM (the schematic is not in this repo) --
	 * if a bench bus stays silent with STB low, check EN first. */
	canfd_pins: can_pins {
		can2_pins: can2 {
			pinmux = <RZV2N_PORT_PINMUX(8, 4, 5)>, /* CANFD2_CTX2 (TX) */
				 <RZV2N_PORT_PINMUX(8, 5, 5)>;  /* CANFD2_CRX2 (RX) */
		};

		can3_pins: can3 {
			pinmux = <RZV2N_PORT_PINMUX(8, 6, 5)>, /* CANFD3_CTX3 (TX) */
				 <RZV2N_PORT_PINMUX(8, 7, 5)>;  /* CANFD3_CRX3 (RX) */
		};
	};
};

/* CAN-FD controller: both on-module channels (see the canfd_pins
 * comment above for the transceiver-to-channel mapping and the
 * schematic source). No `phys` (transceiver PHY) property on either
 * channel: the TCAN1044 is not in this kernel's
 * Documentation/devicetree/bindings/phy/ti,tcan104x-can.yaml compatible
 * enum (ti,tcan1042 / ti,tcan1043 only), so claiming one of those
 * compatibles for a TCAN1044 would misrepresent the populated part.
 * The gd32_gpio can-stby-hog above drives the shared STB line instead
 * -- an honest static hog beats a dishonest phy binding.
 *
 * Bit timing is deliberately NOT in the DT. The controller's timing
 * clock (the `can_clk`/`fck` inputs of the RZ/V2N CANFD block, sourced
 * from the SoC's CPG via RZ_CLOCK_CANFD(ch) -- see the SoC dtsi
 * `&canfd` node in the BSP kernel, not this repo) is inherited from the
 * SoC dtsi -- 80 MHz on silicon (`rcar_canfd 12440000.can: can_clk rate
 * is 80000000`, E1M-V2M103 bench 2026-09-30) -- and rcar_canfd derives
 * NBTP/DBTP from it, so the bitrate is
 * an operator step, not a DT property (a fixed `bitrate` here would
 * also force one rate on every deployment). Until it is set the
 * channel stays down and cannot disturb a live bus:
 *   ip link set can_e1m0 type can bitrate 500000 dbitrate 2000000 fd on
 * Let the driver pick the sample points (87.5 % / 75 % at 80 MHz).  Forcing
 * sample-point 0.8 gives phase-seg2 32 and the controller then goes
 * BUS-OFF on tx-dominant-bit-error with a healthy transceiver (E1M-V2M103
 * bench 2026-09-30); the defaults sit at ERROR-PASSIVE (ACK errors only)
 * on a lone node, as they should.
 *   ip link set can_e1m0 up
 * (repeat for can_e1m1). `ip -d link show can_e1m0` prints the clock
 * the kernel is using and the achievable bitrate/sample-point limits.
 *
 * TDC is not a DT property and no kernel patch is needed: the BSP
 * rcar_canfd already enables transmitter delay compensation (TDCE,
 * TDCO = data sample point in clock periods - 1) whenever the data BRP
 * is 1 or 2, and `ip ... tdc-mode auto|manual|off tdco N tdcv N`
 * overrides it (RZ/V2N manual R01UH1071 section 7.9.4.1.5). At 2 Mbit/s
 * the TCAN1044 loop delay (about 100-175 ns) is well inside the 375 ns
 * data sample point, so TDC does not explain a lone-node BRS BUS-OFF; an
 * ACK error alone cannot cause it either (error-passive nodes do not
 * count ACK errors). docs/build-yocto-v2n.md "CAN-FD data phase: TDC and
 * bus-off triage" has the discriminating bench steps.
 * docs/build-yocto-v2n.md "CAN-FD bring-up" has the full procedure. */
&canfd {
	pinctrl-0 = <&canfd_pins>;
	pinctrl-names = "default";
	status = "okay";

	channel2 {
		status = "okay";
	};

	channel3 {
		status = "okay";
	};
};
